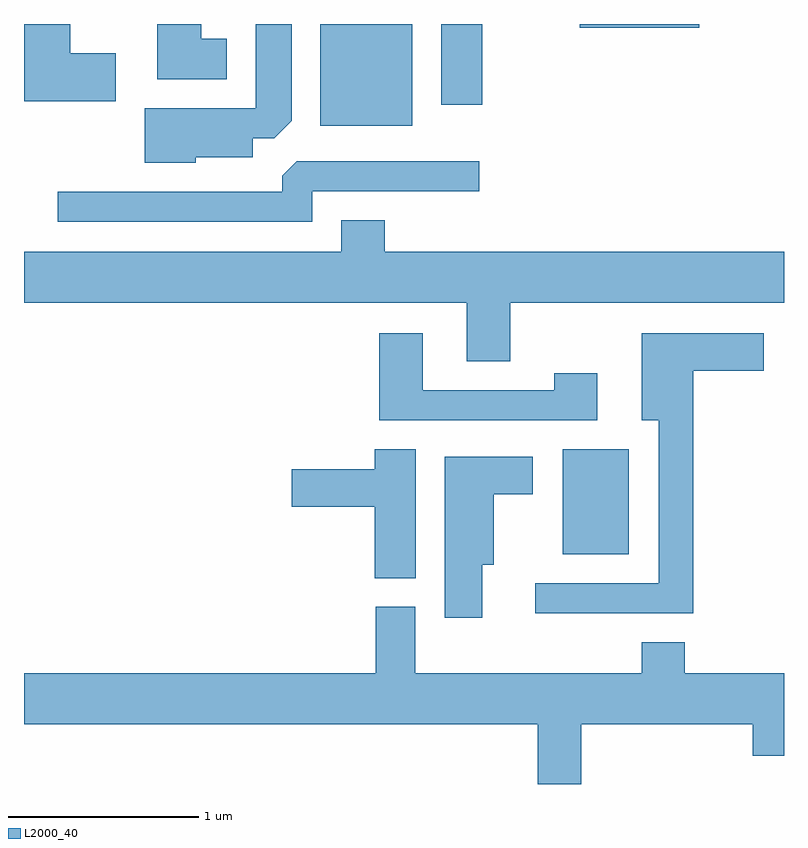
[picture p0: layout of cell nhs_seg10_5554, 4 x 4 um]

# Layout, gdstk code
import gdstk
lib = gdstk.Library(unit=1e-6, precision=1e-09)
def R(c, l, rs):  # rectangles x0, y0, x1, y1
    for r in rs: c.add(gdstk.rectangle(r[:2], r[2:], *l))
def P(c, l, *ps):  # polygons
    for p in ps: c.add(gdstk.Polygon(p, *l))
L2000_40 = (2000, 40)

nhs_seg10_5554 = lib.new_cell('nhs_seg10_5554')
R(nhs_seg10_5554, L2000_40, [(352.446,2083.731,352.794,2084.284), (351.171,2085.986,351.654,2086.522), (351.806,2086.096,352.024,2086.522), (352.536,2086.501,353.164,2086.522)])
P(nhs_seg10_5554, L2000_40, [(350.094,2086.369),(349.854,2086.369),(349.854,2086.522),(349.611,2086.522),(349.611,2086.116),(350.094,2086.116)],
  [(350.679,2086.444),(350.544,2086.444),(350.544,2086.522),(350.311,2086.522),(350.311,2086.231),(350.679,2086.231)],
  [(350.514,2085.821),(350.814,2085.821),(350.814,2085.921),(350.929,2085.921),(351.019,2086.012),(351.019,2086.522),(350.831,2086.522),(350.831,2086.079),(350.246,2086.079),(350.246,2085.791),(350.514,2085.791)],
  [(351.129,2085.641),(352.008,2085.641),(352.008,2085.799),(351.047,2085.799),(350.971,2085.724),(350.971,2085.639),(349.788,2085.639),(349.788,2085.481),(351.129,2085.481)],
  [(352.169,2085.056),(353.611,2085.056),(353.611,2085.324),(351.509,2085.324),(351.509,2085.489),(351.281,2085.489),(351.281,2085.324),(349.611,2085.324),(349.611,2085.056),(351.941,2085.056),(351.941,2084.746),(352.169,2084.746)],
  [(353.134,2084.696),(353.504,2084.696),(353.504,2084.894),(352.861,2084.894),(352.861,2084.436),(352.951,2084.436),(352.951,2083.579),(352.303,2083.579),(352.303,2083.421),(353.134,2083.421)],
  [(352.629,2084.684),(352.401,2084.684),(352.401,2084.594),(351.709,2084.594),(351.709,2084.894),(351.481,2084.894),(351.481,2084.436),(352.629,2084.436)],
  [(351.674,2084.284),(351.456,2084.284),(351.456,2084.179),(351.021,2084.179),(351.021,2083.981),(351.456,2083.981),(351.456,2083.606),(351.674,2083.606)],
  [(352.024,2083.676),(352.084,2083.676),(352.084,2084.046),(352.289,2084.046),(352.289,2084.244),(351.826,2084.244),(351.826,2083.396),(352.024,2083.396)],
  [(352.544,2082.836),(353.446,2082.836),(353.446,2082.671),(353.611,2082.671),(353.611,2083.104),(353.089,2083.104),(353.089,2083.269),(352.861,2083.269),(352.861,2083.104),(351.669,2083.104),(351.669,2083.454),(351.461,2083.454),(351.461,2083.104),(349.611,2083.104),(349.611,2082.836),(352.316,2082.836),(352.316,2082.522),(352.544,2082.522)])

lib.write_gds('nhs_seg10_5554.gds')
